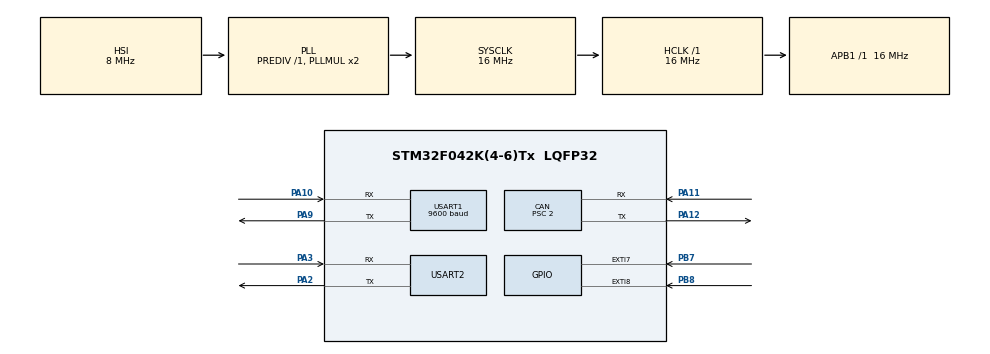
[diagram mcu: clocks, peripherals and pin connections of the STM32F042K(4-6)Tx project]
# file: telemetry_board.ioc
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CAN.BS1=CAN_BS1_13TQ
CAN.BS2=CAN_BS2_2TQ
CAN.CalculateBaudRate=500000
CAN.CalculateTimeBit=2000
CAN.CalculateTimeQuantum=125.0
CAN.Mode=CAN_MODE_NORMAL
CAN.Prescaler=2
Mcu.Family=STM32F0
Mcu.Name=STM32F042K(4-6)Tx
Mcu.Package=LQFP32
NVIC.CEC_CAN_IRQn=true\:0\:0\:false\:false\:true\:true\:true\:true
NVIC.EXTI4_15_IRQn=true\:0\:0\:false\:false\:true\:true\:true\:true
NVIC.TIM2_IRQn=true\:1\:0\:true\:false\:true\:true\:true\:true
NVIC.USART1_IRQn=true\:3\:0\:true\:false\:true\:true\:true\:true
PA10.Mode=Asynchronous
PA10.Signal=USART1_RX
PA11.GPIO_PuPd=GPIO_PULLUP
PA11.Mode=CAN_Activate
PA11.Signal=CAN_RX
PA12.Mode=CAN_Activate
PA12.Signal=CAN_TX
PA2.Mode=Asynchronous
PA2.Signal=USART2_TX
PA3.Mode=Asynchronous
PA3.Signal=USART2_RX
PA9.Mode=Asynchronous
PA9.Signal=USART1_TX
PB7.GPIO_ModeDefaultEXTI=GPIO_MODE_IT_RISING_FALLING
PB7.GPIO_PuPd=GPIO_NOPULL
PB7.Signal=GPXTI7
PB8.GPIO_ModeDefaultEXTI=GPIO_MODE_IT_RISING_FALLING
PB8.Signal=GPXTI8
PF0-OSC_IN.Mode=HSE-External-Oscillator
PF0-OSC_IN.Signal=RCC_OSC_IN
PF1-OSC_OUT.Mode=HSE-External-Oscillator
PF1-OSC_OUT.Signal=RCC_OSC_OUT
ProjectManager.HeapSize=0x200
ProjectManager.StackSize=0x400
ProjectManager.TargetToolchain=STM32CubeIDE
RCC.AHBFreq_Value=16000000
RCC.APB1Freq_Value=16000000
RCC.APB1TimFreq_Value=16000000
RCC.HCLKFreq_Value=16000000
RCC.SYSCLKFreq_VALUE=16000000
RCC.SYSCLKSource=RCC_SYSCLKSOURCE_PLLCLK
TIM2.Period=999
TIM2.Prescaler=15999
USART1.BaudRate=9600
USART1.VirtualMode-Asynchronous=VM_ASYNC
USART2.VirtualMode-Asynchronous=VM_ASYNC
VP_TIM2_VS_ClockSourceINT.Mode=Internal
board=custom

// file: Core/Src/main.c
/* USER CODE BEGIN Header */
/**
  ******************************************************************************
  * @file           : main.c
  * @brief          : Main program body
  ******************************************************************************
  * @attention
  *
  * Copyright (c) 2025 STMicroelectronics.
  * All rights reserved.
  *
  * This software is licensed under terms that can be found in the LICENSE file
  * in the root directory of this software component.
  * If no LICENSE file comes with this software, it is provided AS-IS.
  *
  ******************************************************************************
  */
/* USER CODE END Header */
#include "main.h"

/* USER CODE BEGIN Includes */
#include "telemetry.h"
#include "can.h"
#include "motor.h"
#include "utility.h"
#include "bps_hardfault.h"
/* USER CODE END Includes */

/* USER CODE BEGIN PD */
#define ENABLE_CAN
#define ENABLE_TELEMETRY
/* USER CODE END PD */

/* USER CODE BEGIN PM */
#define NOTE_SERIAL &huart1
#define SERIAL_BUFFER_SIZE 512
#define TELEMETRY_SYNCING_PERIOD 10 // sync to NoteHub every 10 seconds
/* USER CODE END PM */

CAN_HandleTypeDef hcan;

TIM_HandleTypeDef htim2;

UART_HandleTypeDef huart1;
UART_HandleTypeDef huart2;

/* USER CODE BEGIN PV */
// Store the byte read from USART
uint8_t usart_rx_byte;
volatile size_t serial_fill_index = 0;
char serial_buffer[SERIAL_BUFFER_SIZE];
char telemetry_counter = 0; // counter to 10
char timer_interrupt = 0; // set to 1 if the timer interrupt is called
/* USER CODE END PV */

void SystemClock_Config(void);
static void MX_GPIO_Init(void);
static void MX_CAN_Init(void);
static void MX_USART2_UART_Init(void);
static void MX_USART1_UART_Init(void);
static void MX_TIM2_Init(void);

int main(void)
{

  /* MCU Configuration--------------------------------------------------------*/

  /* Reset of all peripherals, Initializes the Flash interface and the Systick. */
  HAL_Init();

  /* Configure the system clock */
  SystemClock_Config();

  /* Initialize all configured peripherals */
  MX_GPIO_Init();
  MX_CAN_Init();
  MX_USART2_UART_Init();
  MX_USART1_UART_Init();
  MX_TIM2_Init();
  /* USER CODE BEGIN 2 */
  // Start receiving from USART1 interrupt
  // USART1 is for communicating with Note Card
  DBG("Starting...");

#ifdef ENABLE_CAN
  if (init_can() == 0) {
  	  DBG("Initialized CAN successfully");
    } else {
  	  ERR("Failed to initialize CAN!");

  	  while(1);
    }
#endif

#ifdef ENABLE_TELEMETRY
  if (telemetry_init() == 0) {
	  DBG("Initialized telemetry successfully");
  } else {
	  ERR("Failed to initialize telemetry!");

	  while(1);
  }
#endif

  /* USER CODE END 2 */

  /* Infinite loop */
    while (1)
    {

    /* USER CODE BEGIN 3 */
    	if (timer_interrupt) {
    		timer_interrupt = 0;

            motor_on_timer_interrupt();

            telemetry_counter++;

            DBG("counter is %d", telemetry_counter);

            if (telemetry_counter >= TELEMETRY_SYNCING_PERIOD) {
            	telemetry_sync_to_note();

            	telemetry_counter = 0;
            }
    	}

#ifdef ENABLE_PRINTF_DEBUG
      log_telemetry();
#endif

    	HAL_Delay(1);
    }
  /* USER CODE END 3 */
}

void SystemClock_Config(void)
{
  RCC_OscInitTypeDef RCC_OscInitStruct = {0};
  RCC_ClkInitTypeDef RCC_ClkInitStruct = {0};
  RCC_PeriphCLKInitTypeDef PeriphClkInit = {0};

  /** Initializes the RCC Oscillators according to the specified parameters
  * in the RCC_OscInitTypeDef structure.
  */
  RCC_OscInitStruct.OscillatorType = RCC_OSCILLATORTYPE_HSI;
  RCC_OscInitStruct.HSIState = RCC_HSI_ON;
  RCC_OscInitStruct.HSICalibrationValue = RCC_HSICALIBRATION_DEFAULT;
  RCC_OscInitStruct.PLL.PLLState = RCC_PLL_ON;
  RCC_OscInitStruct.PLL.PLLSource = RCC_PLLSOURCE_HSI;
  RCC_OscInitStruct.PLL.PLLMUL = RCC_PLL_MUL2;
  RCC_OscInitStruct.PLL.PREDIV = RCC_PREDIV_DIV1;
  if (HAL_RCC_OscConfig(&RCC_OscInitStruct) != HAL_OK)
  {
    Error_Handler();
  }

  /** Initializes the CPU, AHB and APB buses clocks
  */
  RCC_ClkInitStruct.ClockType = RCC_CLOCKTYPE_HCLK|RCC_CLOCKTYPE_SYSCLK
                              |RCC_CLOCKTYPE_PCLK1;
  RCC_ClkInitStruct.SYSCLKSource = RCC_SYSCLKSOURCE_PLLCLK;
  RCC_ClkInitStruct.AHBCLKDivider = RCC_SYSCLK_DIV1;
  RCC_ClkInitStruct.APB1CLKDivider = RCC_HCLK_DIV1;

  if (HAL_RCC_ClockConfig(&RCC_ClkInitStruct, FLASH_LATENCY_0) != HAL_OK)
  {
    Error_Handler();
  }
  PeriphClkInit.PeriphClockSelection = RCC_PERIPHCLK_USART1;
  PeriphClkInit.Usart1ClockSelection = RCC_USART1CLKSOURCE_PCLK1;
  if (HAL_RCCEx_PeriphCLKConfig(&PeriphClkInit) != HAL_OK)
  {
    Error_Handler();
  }
}

static void MX_CAN_Init(void)
{

  hcan.Instance = CAN;
  hcan.Init.Prescaler = 2;
  hcan.Init.Mode = CAN_MODE_NORMAL;
  hcan.Init.SyncJumpWidth = CAN_SJW_1TQ;
  hcan.Init.TimeSeg1 = CAN_BS1_13TQ;
  hcan.Init.TimeSeg2 = CAN_BS2_2TQ;
  hcan.Init.TimeTriggeredMode = DISABLE;
  hcan.Init.AutoBusOff = DISABLE;
  hcan.Init.AutoWakeUp = DISABLE;
  hcan.Init.AutoRetransmission = DISABLE;
  hcan.Init.ReceiveFifoLocked = DISABLE;
  hcan.Init.TransmitFifoPriority = DISABLE;
  if (HAL_CAN_Init(&hcan) != HAL_OK)
  {
    Error_Handler();
  }

}

static void MX_TIM2_Init(void)
{

  TIM_ClockConfigTypeDef sClockSourceConfig = {0};
  TIM_MasterConfigTypeDef sMasterConfig = {0};

  htim2.Instance = TIM2;
  htim2.Init.Prescaler = 15999;
  htim2.Init.CounterMode = TIM_COUNTERMODE_UP;
  htim2.Init.Period = 999;
  htim2.Init.ClockDivision = TIM_CLOCKDIVISION_DIV1;
  htim2.Init.AutoReloadPreload = TIM_AUTORELOAD_PRELOAD_DISABLE;
  if (HAL_TIM_Base_Init(&htim2) != HAL_OK)
  {
    Error_Handler();
  }
  sClockSourceConfig.ClockSource = TIM_CLOCKSOURCE_INTERNAL;
  if (HAL_TIM_ConfigClockSource(&htim2, &sClockSourceConfig) != HAL_OK)
  {
    Error_Handler();
  }
  sMasterConfig.MasterOutputTrigger = TIM_TRGO_RESET;
  sMasterConfig.MasterSlaveMode = TIM_MASTERSLAVEMODE_DISABLE;
  if (HAL_TIMEx_MasterConfigSynchronization(&htim2, &sMasterConfig) != HAL_OK)
  {
    Error_Handler();
  }
  /* USER CODE BEGIN TIM2_Init 2 */
  HAL_TIM_Base_Start_IT(&htim2);
  /* USER CODE END TIM2_Init 2 */

}

static void MX_USART1_UART_Init(void)
{

  huart1.Instance = USART1;
  huart1.Init.BaudRate = 9600;
  huart1.Init.WordLength = UART_WORDLENGTH_8B;
  huart1.Init.StopBits = UART_STOPBITS_1;
  huart1.Init.Parity = UART_PARITY_NONE;
  huart1.Init.Mode = UART_MODE_TX_RX;
  huart1.Init.HwFlowCtl = UART_HWCONTROL_NONE;
  huart1.Init.OverSampling = UART_OVERSAMPLING_16;
  huart1.Init.OneBitSampling = UART_ONE_BIT_SAMPLE_DISABLE;
  huart1.AdvancedInit.AdvFeatureInit = UART_ADVFEATURE_NO_INIT;
  if (HAL_UART_Init(&huart1) != HAL_OK)
  {
    Error_Handler();
  }
  /* USER CODE BEGIN USART1_Init 2 */
  // Reset our buffer management
  serial_fill_index = 0;

  // Start the inbound receive
  HAL_UART_Receive_IT(&huart1, &usart_rx_byte, 1);  // receive 1 byte via interrupt
  /* USER CODE END USART1_Init 2 */

}

static void MX_USART2_UART_Init(void)
{

  huart2.Instance = USART2;
  huart2.Init.BaudRate = 38400;
  huart2.Init.WordLength = UART_WORDLENGTH_8B;
  huart2.Init.StopBits = UART_STOPBITS_1;
  huart2.Init.Parity = UART_PARITY_NONE;
  huart2.Init.Mode = UART_MODE_TX_RX;
  huart2.Init.HwFlowCtl = UART_HWCONTROL_NONE;
  huart2.Init.OverSampling = UART_OVERSAMPLING_16;
  huart2.Init.OneBitSampling = UART_ONE_BIT_SAMPLE_DISABLE;
  huart2.AdvancedInit.AdvFeatureInit = UART_ADVFEATURE_NO_INIT;
  if (HAL_UART_Init(&huart2) != HAL_OK)
  {
    Error_Handler();
  }

}

static void MX_GPIO_Init(void)
{
  GPIO_InitTypeDef GPIO_InitStruct = {0};

  /* GPIO Ports Clock Enable */
  __HAL_RCC_GPIOF_CLK_ENABLE();
  __HAL_RCC_GPIOA_CLK_ENABLE();
  __HAL_RCC_GPIOB_CLK_ENABLE();

  /*Configure GPIO pins : PB7 PB8 */
  GPIO_InitStruct.Pin = GPIO_PIN_7|GPIO_PIN_8;
  GPIO_InitStruct.Mode = GPIO_MODE_IT_RISING_FALLING;
  GPIO_InitStruct.Pull = GPIO_NOPULL;
  HAL_GPIO_Init(GPIOB, &GPIO_InitStruct);

  /* EXTI interrupt init*/
  HAL_NVIC_SetPriority(EXTI4_15_IRQn, 0, 0);
  HAL_NVIC_EnableIRQ(EXTI4_15_IRQn);

}

/* USER CODE BEGIN 4 */
void HAL_CAN_RxFifo0MsgPendingCallback(CAN_HandleTypeDef *hcan)
{
#ifdef ENABLE_CAN
	can_on_received_message_handler(hcan);
#endif
}

void HAL_UART_RxCpltCallback(UART_HandleTypeDef *huart)
{
	// USART1 is for communicating with Note Card
	// USART2 is for printf
    if (huart->Instance == USART1) {
//    	DBG("[USART1] Received chacracter: %c", usart_rx_byte);

    	// Fill the buffer with the character we received from USART
        if (serial_fill_index < SERIAL_BUFFER_SIZE) {
        	serial_buffer[serial_fill_index++] = usart_rx_byte;

        	if (usart_rx_byte == '\n' || usart_rx_byte == '\r') {
        		serial_buffer[serial_fill_index] = '\0';  // Null-terminate

        	    DBG("[Note] says: %s", serial_buffer);  // print out the entire message

        	    serial_fill_index = 0;  // Reset for next message
        	}
        } else {
        	// Buffer full
        	// Print out the entire message
        	DBG("%.*s", SERIAL_BUFFER_SIZE, serial_buffer);

        	serial_fill_index = 0;
        }

        // Re-enable interrupt for next byte
        HAL_UART_Receive_IT(&huart1, &usart_rx_byte, 1);
    }
}

void HAL_GPIO_EXTI_Callback(uint16_t pin) {
	 if (pin == MOTOR_GPIO_PIN) {
		 motor_on_gpio_interrupt();
	 } else if (pin == BPS_HARDFAULT_PIN) {
     // Handle hard fault
     // Check if the pin is set to high
      if (HAL_GPIO_ReadPin(BPS_HARDFAULT_GPIO_PORT, BPS_HARDFAULT_PIN) == GPIO_PIN_SET) {
          // If the pin is high, it indicates a hard fault
          BPS_HardFault_Handler(1);
      } else {
          // If the pin is low, it indicates a normal state
          BPS_HardFault_Handler(0);
      }
   }
}

void HAL_TIM_PeriodElapsedCallback(TIM_HandleTypeDef *htim) {
    if (htim->Instance == TIM2) {
        timer_interrupt = 1;
    }
}
/* USER CODE END 4 */

void Error_Handler(void)
{
  __disable_irq();
  while (1)
  {
  }
}
